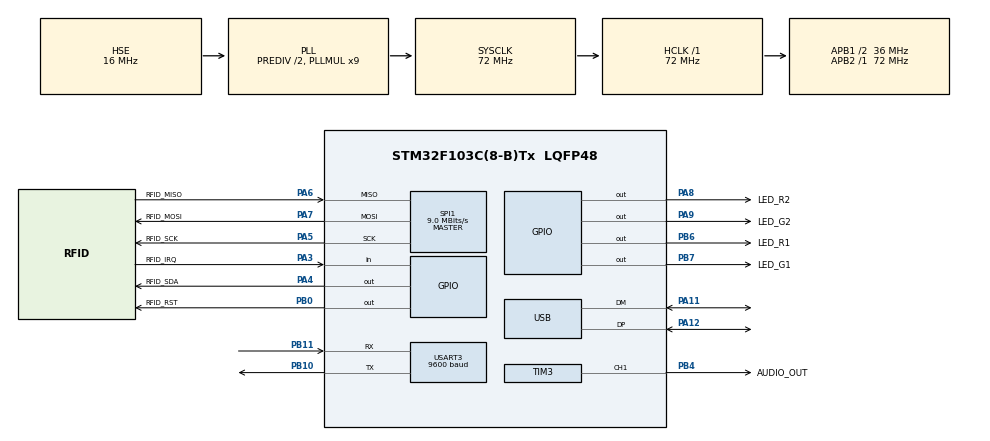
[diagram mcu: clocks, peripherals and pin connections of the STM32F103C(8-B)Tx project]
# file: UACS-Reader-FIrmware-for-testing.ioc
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Dma.Request0=USART3_TX
Dma.Request1=USART3_RX
Dma.USART3_RX.1.Direction=DMA_PERIPH_TO_MEMORY
Dma.USART3_RX.1.Instance=DMA1_Channel3
Dma.USART3_RX.1.MemDataAlignment=DMA_MDATAALIGN_BYTE
Dma.USART3_RX.1.MemInc=DMA_MINC_ENABLE
Dma.USART3_RX.1.Mode=DMA_NORMAL
Dma.USART3_RX.1.PeriphDataAlignment=DMA_PDATAALIGN_BYTE
Dma.USART3_RX.1.PeriphInc=DMA_PINC_DISABLE
Dma.USART3_RX.1.Priority=DMA_PRIORITY_LOW
Dma.USART3_TX.0.Direction=DMA_MEMORY_TO_PERIPH
Dma.USART3_TX.0.Instance=DMA1_Channel2
Dma.USART3_TX.0.MemDataAlignment=DMA_MDATAALIGN_BYTE
Dma.USART3_TX.0.MemInc=DMA_MINC_ENABLE
Dma.USART3_TX.0.Mode=DMA_NORMAL
Dma.USART3_TX.0.PeriphDataAlignment=DMA_PDATAALIGN_BYTE
Dma.USART3_TX.0.PeriphInc=DMA_PINC_DISABLE
Dma.USART3_TX.0.Priority=DMA_PRIORITY_LOW
Mcu.Family=STM32F1
Mcu.Name=STM32F103C(8-B)Tx
Mcu.Package=LQFP48
NVIC.DMA1_Channel2_IRQn=true\:0\:0\:false\:false\:true\:false\:true\:true
NVIC.DMA1_Channel3_IRQn=true\:0\:0\:false\:false\:true\:false\:true\:true
NVIC.PriorityGroup=NVIC_PRIORITYGROUP_4
NVIC.TIM2_IRQn=true\:0\:0\:false\:false\:true\:true\:true\:true
NVIC.USART3_IRQn=true\:0\:0\:false\:false\:true\:true\:true\:true
NVIC.USB_LP_CAN1_RX0_IRQn=true\:0\:0\:false\:false\:true\:false\:true\:true
PA11.Mode=Device
PA11.Signal=USB_DM
PA12.Mode=Device
PA12.Signal=USB_DP
PA13.Mode=Trace_Asynchronous_SW
PA13.Signal=SYS_JTMS-SWDIO
PA14.Mode=Trace_Asynchronous_SW
PA14.Signal=SYS_JTCK-SWCLK
PA3.GPIO_Label=RFID_IRQ
PA3.Signal=GPIO_Input
PA4.GPIO_Label=RFID_SDA
PA4.Signal=GPIO_Output
PA5.GPIO_Label=RFID_SCK
PA5.Mode=Full_Duplex_Master
PA5.Signal=SPI1_SCK
PA6.GPIO_Label=RFID_MISO
PA6.Mode=Full_Duplex_Master
PA6.Signal=SPI1_MISO
PA7.GPIO_Label=RFID_MOSI
PA7.Mode=Full_Duplex_Master
PA7.Signal=SPI1_MOSI
PA8.GPIO_Label=LED_R2
PA8.Signal=GPIO_Output
PA9.GPIO_Label=LED_G2
PA9.Signal=GPIO_Output
PB0.GPIO_Label=RFID_RST
PB0.Signal=GPIO_Output
PB10.Mode=Asynchronous
PB10.Signal=USART3_TX
PB11.Mode=Asynchronous
PB11.Signal=USART3_RX
PB3.Mode=Trace_Asynchronous_SW
PB3.Signal=SYS_JTDO-TRACESWO
PB4.GPIO_Label=AUDIO_OUT
PB4.Signal=S_TIM3_CH1
PB6.GPIO_Label=LED_R1
PB6.Signal=GPIO_Output
PB7.GPIO_Label=LED_G1
PB7.Signal=GPIO_Output
PD0-OSC_IN.Mode=HSE-External-Oscillator
PD0-OSC_IN.Signal=RCC_OSC_IN
PD1-OSC_OUT.Mode=HSE-External-Oscillator
PD1-OSC_OUT.Signal=RCC_OSC_OUT
ProjectManager.HeapSize=0x200
ProjectManager.StackSize=0x400
ProjectManager.TargetToolchain=STM32CubeIDE
RCC.AHBFreq_Value=72000000
RCC.APB1CLKDivider=RCC_HCLK_DIV2
RCC.APB1Freq_Value=36000000
RCC.APB1TimFreq_Value=72000000
RCC.APB2Freq_Value=72000000
RCC.APB2TimFreq_Value=72000000
RCC.HCLKFreq_Value=72000000
RCC.HSEDivPLL=RCC_HSE_PREDIV_DIV2
RCC.HSE_VALUE=16000000
RCC.PLLMUL=RCC_PLL_MUL9
RCC.PLLSourceVirtual=RCC_PLLSOURCE_HSE
RCC.SYSCLKFreq_VALUE=72000000
RCC.SYSCLKSource=RCC_SYSCLKSOURCE_PLLCLK
RCC.USBFreq_Value=48000000
RCC.USBPrescaler=RCC_USBCLKSOURCE_PLL_DIV1_5
SH.S_TIM3_CH1.0=TIM3_CH1,PWM Generation1 CH1
SPI1.BaudRatePrescaler=SPI_BAUDRATEPRESCALER_8
SPI1.CalculateBaudRate=9.0 MBits/s
SPI1.Direction=SPI_DIRECTION_2LINES
SPI1.Mode=SPI_MODE_MASTER
SPI1.VirtualType=VM_MASTER
TIM2.Period=1124
TIM3.AutoReloadPreload=TIM_AUTORELOAD_PRELOAD_ENABLE
TIM3.Channel-PWM\ Generation1\ CH1=TIM_CHANNEL_1
TIM3.Period=1124
USART3.BaudRate=9600
USART3.VirtualMode=VM_ASYNC
USB_DEVICE.CLASS_NAME_FS=CDC
USB_DEVICE.USBD_DEBUG_LEVEL=3
USB_DEVICE.VirtualMode=Cdc
USB_DEVICE.VirtualModeFS=Cdc_FS
VP_TIM2_VS_ClockSourceINT.Mode=Internal
VP_TIM3_VS_ClockSourceINT.Mode=Internal
VP_USB_DEVICE_VS_USB_DEVICE_CDC_FS.Mode=CDC_FS
board=custom

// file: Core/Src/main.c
/* USER CODE BEGIN Header */
/**
  ******************************************************************************
  * @file           : main.c
  * @brief          : Main program body
  ******************************************************************************
  * @attention
  *
  * Copyright (c) 2025 STMicroelectronics.
  * All rights reserved.
  *
  * This software is licensed under terms that can be found in the LICENSE file
  * in the root directory of this software component.
  * If no LICENSE file comes with this software, it is provided AS-IS.
  *
  ******************************************************************************
  */
/* USER CODE END Header */
#include "main.h"
#include "usb_device.h"

/* USER CODE BEGIN Includes */
#include <math.h>

/* USER CODE END Includes */

/* USER CODE BEGIN PD */
#define SAMPLES 64
#define PI 3.14159265358979323846f
/* USER CODE END PD */

SPI_HandleTypeDef hspi1;

TIM_HandleTypeDef htim2;
TIM_HandleTypeDef htim3;

UART_HandleTypeDef huart3;
DMA_HandleTypeDef hdma_usart3_tx;
DMA_HandleTypeDef hdma_usart3_rx;

/* USER CODE BEGIN PV */
uint16_t sine_table[SAMPLES];
int counter = 0;
/* USER CODE END PV */

void SystemClock_Config(void);
static void MX_GPIO_Init(void);
static void MX_DMA_Init(void);
static void MX_SPI1_Init(void);
static void MX_USART3_UART_Init(void);
static void MX_TIM3_Init(void);
static void MX_TIM2_Init(void);

int main(void)
{

  /* MCU Configuration--------------------------------------------------------*/

  /* Reset of all peripherals, Initializes the Flash interface and the Systick. */
  HAL_Init();

  /* Configure the system clock */
  SystemClock_Config();

  /* Initialize all configured peripherals */
  MX_GPIO_Init();
  MX_DMA_Init();
  MX_SPI1_Init();
  MX_USART3_UART_Init();
  MX_USB_DEVICE_Init();
  MX_TIM3_Init();
  MX_TIM2_Init();
  /* USER CODE BEGIN 2 */
  Generate_Pulse_Lenght();
  HAL_TIM_PWM_Start(&htim3, TIM_CHANNEL_1);
  HAL_TIM_Base_Start(&htim2);
  int delay = 200;
  Led_Blick(GPIOB, GPIO_PIN_6, delay);
  Led_Blick(GPIOB, GPIO_PIN_7, delay);
  Led_Blick(GPIOA, GPIO_PIN_8, delay);
  Led_Blick(GPIOA, GPIO_PIN_9, delay);
  /* USER CODE END 2 */

  /* Infinite loop */
  while (1)
  {

  }
}

void SystemClock_Config(void)
{
  RCC_OscInitTypeDef RCC_OscInitStruct = {0};
  RCC_ClkInitTypeDef RCC_ClkInitStruct = {0};
  RCC_PeriphCLKInitTypeDef PeriphClkInit = {0};

  /** Initializes the RCC Oscillators according to the specified parameters
  * in the RCC_OscInitTypeDef structure.
  */
  RCC_OscInitStruct.OscillatorType = RCC_OSCILLATORTYPE_HSE;
  RCC_OscInitStruct.HSEState = RCC_HSE_ON;
  RCC_OscInitStruct.HSEPredivValue = RCC_HSE_PREDIV_DIV2;
  RCC_OscInitStruct.HSIState = RCC_HSI_ON;
  RCC_OscInitStruct.PLL.PLLState = RCC_PLL_ON;
  RCC_OscInitStruct.PLL.PLLSource = RCC_PLLSOURCE_HSE;
  RCC_OscInitStruct.PLL.PLLMUL = RCC_PLL_MUL9;
  if (HAL_RCC_OscConfig(&RCC_OscInitStruct) != HAL_OK)
  {
    Error_Handler();
  }

  /** Initializes the CPU, AHB and APB buses clocks
  */
  RCC_ClkInitStruct.ClockType = RCC_CLOCKTYPE_HCLK|RCC_CLOCKTYPE_SYSCLK
                              |RCC_CLOCKTYPE_PCLK1|RCC_CLOCKTYPE_PCLK2;
  RCC_ClkInitStruct.SYSCLKSource = RCC_SYSCLKSOURCE_PLLCLK;
  RCC_ClkInitStruct.AHBCLKDivider = RCC_SYSCLK_DIV1;
  RCC_ClkInitStruct.APB1CLKDivider = RCC_HCLK_DIV2;
  RCC_ClkInitStruct.APB2CLKDivider = RCC_HCLK_DIV1;

  if (HAL_RCC_ClockConfig(&RCC_ClkInitStruct, FLASH_LATENCY_2) != HAL_OK)
  {
    Error_Handler();
  }
  PeriphClkInit.PeriphClockSelection = RCC_PERIPHCLK_USB;
  PeriphClkInit.UsbClockSelection = RCC_USBCLKSOURCE_PLL_DIV1_5;
  if (HAL_RCCEx_PeriphCLKConfig(&PeriphClkInit) != HAL_OK)
  {
    Error_Handler();
  }
}

static void MX_SPI1_Init(void)
{

  /* SPI1 parameter configuration*/
  hspi1.Instance = SPI1;
  hspi1.Init.Mode = SPI_MODE_MASTER;
  hspi1.Init.Direction = SPI_DIRECTION_2LINES;
  hspi1.Init.DataSize = SPI_DATASIZE_8BIT;
  hspi1.Init.CLKPolarity = SPI_POLARITY_LOW;
  hspi1.Init.CLKPhase = SPI_PHASE_1EDGE;
  hspi1.Init.NSS = SPI_NSS_SOFT;
  hspi1.Init.BaudRatePrescaler = SPI_BAUDRATEPRESCALER_8;
  hspi1.Init.FirstBit = SPI_FIRSTBIT_MSB;
  hspi1.Init.TIMode = SPI_TIMODE_DISABLE;
  hspi1.Init.CRCCalculation = SPI_CRCCALCULATION_DISABLE;
  hspi1.Init.CRCPolynomial = 10;
  if (HAL_SPI_Init(&hspi1) != HAL_OK)
  {
    Error_Handler();
  }

}

static void MX_TIM2_Init(void)
{

  TIM_ClockConfigTypeDef sClockSourceConfig = {0};
  TIM_MasterConfigTypeDef sMasterConfig = {0};

  htim2.Instance = TIM2;
  htim2.Init.Prescaler = 0;
  htim2.Init.CounterMode = TIM_COUNTERMODE_UP;
  htim2.Init.Period = 1124;
  htim2.Init.ClockDivision = TIM_CLOCKDIVISION_DIV1;
  htim2.Init.AutoReloadPreload = TIM_AUTORELOAD_PRELOAD_DISABLE;
  if (HAL_TIM_Base_Init(&htim2) != HAL_OK)
  {
    Error_Handler();
  }
  sClockSourceConfig.ClockSource = TIM_CLOCKSOURCE_INTERNAL;
  if (HAL_TIM_ConfigClockSource(&htim2, &sClockSourceConfig) != HAL_OK)
  {
    Error_Handler();
  }
  sMasterConfig.MasterOutputTrigger = TIM_TRGO_RESET;
  sMasterConfig.MasterSlaveMode = TIM_MASTERSLAVEMODE_DISABLE;
  if (HAL_TIMEx_MasterConfigSynchronization(&htim2, &sMasterConfig) != HAL_OK)
  {
    Error_Handler();
  }

}

static void MX_TIM3_Init(void)
{

  TIM_ClockConfigTypeDef sClockSourceConfig = {0};
  TIM_MasterConfigTypeDef sMasterConfig = {0};
  TIM_OC_InitTypeDef sConfigOC = {0};

  htim3.Instance = TIM3;
  htim3.Init.Prescaler = 0;
  htim3.Init.CounterMode = TIM_COUNTERMODE_UP;
  htim3.Init.Period = 1124;
  htim3.Init.ClockDivision = TIM_CLOCKDIVISION_DIV1;
  htim3.Init.AutoReloadPreload = TIM_AUTORELOAD_PRELOAD_ENABLE;
  if (HAL_TIM_Base_Init(&htim3) != HAL_OK)
  {
    Error_Handler();
  }
  sClockSourceConfig.ClockSource = TIM_CLOCKSOURCE_INTERNAL;
  if (HAL_TIM_ConfigClockSource(&htim3, &sClockSourceConfig) != HAL_OK)
  {
    Error_Handler();
  }
  if (HAL_TIM_PWM_Init(&htim3) != HAL_OK)
  {
    Error_Handler();
  }
  sMasterConfig.MasterOutputTrigger = TIM_TRGO_RESET;
  sMasterConfig.MasterSlaveMode = TIM_MASTERSLAVEMODE_DISABLE;
  if (HAL_TIMEx_MasterConfigSynchronization(&htim3, &sMasterConfig) != HAL_OK)
  {
    Error_Handler();
  }
  sConfigOC.OCMode = TIM_OCMODE_PWM1;
  sConfigOC.Pulse = 0;
  sConfigOC.OCPolarity = TIM_OCPOLARITY_HIGH;
  sConfigOC.OCFastMode = TIM_OCFAST_DISABLE;
  if (HAL_TIM_PWM_ConfigChannel(&htim3, &sConfigOC, TIM_CHANNEL_1) != HAL_OK)
  {
    Error_Handler();
  }
  HAL_TIM_MspPostInit(&htim3);

}

static void MX_USART3_UART_Init(void)
{

  huart3.Instance = USART3;
  huart3.Init.BaudRate = 9600;
  huart3.Init.WordLength = UART_WORDLENGTH_8B;
  huart3.Init.StopBits = UART_STOPBITS_1;
  huart3.Init.Parity = UART_PARITY_NONE;
  huart3.Init.Mode = UART_MODE_TX_RX;
  huart3.Init.HwFlowCtl = UART_HWCONTROL_NONE;
  huart3.Init.OverSampling = UART_OVERSAMPLING_16;
  if (HAL_UART_Init(&huart3) != HAL_OK)
  {
    Error_Handler();
  }

}

static void MX_DMA_Init(void)
{

  /* DMA controller clock enable */
  __HAL_RCC_DMA1_CLK_ENABLE();

  /* DMA interrupt init */
  /* DMA1_Channel2_IRQn interrupt configuration */
  HAL_NVIC_SetPriority(DMA1_Channel2_IRQn, 0, 0);
  HAL_NVIC_EnableIRQ(DMA1_Channel2_IRQn);
  /* DMA1_Channel3_IRQn interrupt configuration */
  HAL_NVIC_SetPriority(DMA1_Channel3_IRQn, 0, 0);
  HAL_NVIC_EnableIRQ(DMA1_Channel3_IRQn);

}

static void MX_GPIO_Init(void)
{
  GPIO_InitTypeDef GPIO_InitStruct = {0};

  /* GPIO Ports Clock Enable */
  __HAL_RCC_GPIOD_CLK_ENABLE();
  __HAL_RCC_GPIOA_CLK_ENABLE();
  __HAL_RCC_GPIOB_CLK_ENABLE();

  /*Configure GPIO pin Output Level */
  HAL_GPIO_WritePin(GPIOA, RFID_SDA_Pin|LED_R2_Pin|LED_G2_Pin, GPIO_PIN_RESET);

  /*Configure GPIO pin Output Level */
  HAL_GPIO_WritePin(GPIOB, RFID_RST_Pin|LED_R1_Pin|LED_G1_Pin, GPIO_PIN_RESET);

  /*Configure GPIO pin : RFID_IRQ_Pin */
  GPIO_InitStruct.Pin = RFID_IRQ_Pin;
  GPIO_InitStruct.Mode = GPIO_MODE_INPUT;
  GPIO_InitStruct.Pull = GPIO_NOPULL;
  HAL_GPIO_Init(RFID_IRQ_GPIO_Port, &GPIO_InitStruct);

  /*Configure GPIO pins : RFID_SDA_Pin LED_R2_Pin LED_G2_Pin */
  GPIO_InitStruct.Pin = RFID_SDA_Pin|LED_R2_Pin|LED_G2_Pin;
  GPIO_InitStruct.Mode = GPIO_MODE_OUTPUT_PP;
  GPIO_InitStruct.Pull = GPIO_NOPULL;
  GPIO_InitStruct.Speed = GPIO_SPEED_FREQ_LOW;
  HAL_GPIO_Init(GPIOA, &GPIO_InitStruct);

  /*Configure GPIO pins : RFID_RST_Pin LED_R1_Pin LED_G1_Pin */
  GPIO_InitStruct.Pin = RFID_RST_Pin|LED_R1_Pin|LED_G1_Pin;
  GPIO_InitStruct.Mode = GPIO_MODE_OUTPUT_PP;
  GPIO_InitStruct.Pull = GPIO_NOPULL;
  GPIO_InitStruct.Speed = GPIO_SPEED_FREQ_LOW;
  HAL_GPIO_Init(GPIOB, &GPIO_InitStruct);

}

/* USER CODE BEGIN 4 */
void Led_Blick(GPIO_TypeDef *GPIOx, uint16_t GPIO_Pin, uint32_t Delay){
	HAL_GPIO_WritePin(GPIOx, GPIO_Pin, GPIO_PIN_SET);
	HAL_Delay(Delay);
	HAL_GPIO_WritePin(GPIOx, GPIO_Pin, GPIO_PIN_RESET);
}
void Generate_Pulse_Lenght() {
    for (int i = 0; i < SAMPLES; i++) {
    	float value = ((sinf(2.0f*PI*((float)i/(float)SAMPLES)) + 1.0f)/2.0f)*1124.0f;
        sine_table[i] = value;
    }
}
void HAL_TIM_PeriodElapsedCallback(TIM_HandleTypeDef *htim){
	Led_Blick(GPIOB, GPIO_PIN_6, 200);
	TIM3->CCR1 = sine_table[counter];
	counter++;
	if (counter > 63){
		counter = 0;
	}
}
void USB_CDC_RxHandler(uint8_t* Buf, uint32_t Len){
	uint8_t* tmpBuf = Buf;
	Serial_Command_Handler(tmpBuf);

}
void Serial_Command_Handler(uint8_t* Buf){
	char * type = strtok((char*)Buf, "-");
	char * payload =  strtok(NULL, "-");
	if (strcmp(type, "L") == 0) {
		Led_Handler(payload);
	    }else if (strcmp(type, "U") == 0)  {
	    	UART_Handler(payload);
	    }else if (strcmp(type, "T") == 0){
	    	Timer_Starter();
	    	HAL_GPIO_TogglePin(GPIOB, GPIO_PIN_7);
	    }else {
	    	CDC_Transmit_FS(Buf, strlen((char*)Buf));
	    }

	    }
void Led_Handler(char* Buf){
	if (strcmp(Buf, "G1ON") == 0) {
		HAL_GPIO_WritePin(GPIOB, GPIO_PIN_7, GPIO_PIN_SET);
		    } else if (strcmp(Buf, "R1ON") == 0) {
		        HAL_GPIO_WritePin(GPIOB, GPIO_PIN_6, GPIO_PIN_SET);
		    } else if (strcmp(Buf, "G2ON") == 0) {
		        HAL_GPIO_WritePin(GPIOA, GPIO_PIN_9, GPIO_PIN_SET);
		    } else if (strcmp (Buf, "R2ON") == 0) {
		        HAL_GPIO_WritePin(GPIOA, GPIO_PIN_8, GPIO_PIN_SET);
		    } else if (strcmp(Buf, "G1OFF") == 0) {
		        HAL_GPIO_WritePin(GPIOB, GPIO_PIN_7, GPIO_PIN_RESET);
		    } else if (strcmp(Buf, "R1OFF") == 0) {
		        HAL_GPIO_WritePin(GPIOB, GPIO_PIN_6, GPIO_PIN_RESET);
		    } else if (strcmp(Buf, "G2OFF") == 0) {
		        HAL_GPIO_WritePin(GPIOA, GPIO_PIN_9, GPIO_PIN_RESET);
		    } else if (strcmp(Buf, "R2OFF") == 0) {
		        HAL_GPIO_WritePin(GPIOA, GPIO_PIN_8, GPIO_PIN_RESET);
		    }
}
void UART_Handler(char* payload){
	uint8_t msg[29];
	memcpy(msg, payload, strlen(payload) + 1);
	HAL_UART_Transmit(&huart3, msg, sizeof(msg), 100);
	CDC_Transmit_FS(msg, strlen((char*)msg));
}
void Timer_Starter(){
	HAL_TIM_PWM_Start(&htim3, TIM_CHANNEL_1);
	HAL_TIM_Base_Start(&htim2);
}
/* USER CODE END 4 */

void Error_Handler(void)
{
  __disable_irq();
  while (1)
  {
  }
}
